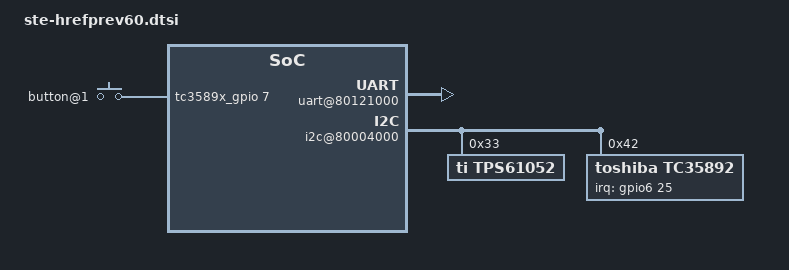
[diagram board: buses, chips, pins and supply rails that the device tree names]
// SPDX-License-Identifier: GPL-2.0-or-later
/*
 * Copyright 2012 ST-Ericsson AB
 *
 * Device Tree for the HREF+ prior to the v60 variant.
 */

#include "ste-dbx5x0.dtsi"
#include "ste-href-ab8500.dtsi"
#include "ste-href.dtsi"

/ {
	gpio_keys {
		button@1 {
			gpios = <&tc3589x_gpio 7 GPIO_ACTIVE_HIGH>;
		};
	};

	soc {
		/* Enable UART1 on this board */
		uart@80121000 {
			status = "okay";
		};

		i2c@80004000 {
			tps61052@33 {
				compatible = "ti,tps61052";
				reg = <0x33>;
			};

			tc35892@42 {
				compatible = "toshiba,tc35892";
				reg = <0x42>;
				interrupt-parent = <&gpio6>;
				interrupts = <25 IRQ_TYPE_EDGE_RISING>;
				pinctrl-names = "default";
				pinctrl-0 = <&tc35892_hrefprev60_mode>;

				interrupt-controller;
				#interrupt-cells = <1>;

				tc3589x_gpio: tc3589x_gpio {
					compatible = "tc3589x-gpio";
					interrupts = <0>;

					interrupt-controller;
					#interrupt-cells = <2>;
					gpio-controller;
					#gpio-cells = <2>;
				};
			};
		};

		spi@80002000 {
			/*
			 * On the first generation boards, this SSP/SPI port was connected
			 * to the AB8500.
			 */
			pinctrl-names = "default";
			pinctrl-0 = <&ssp0_hrefprev60_mode>;
		};

		// External Micro SD slot
		sdi0_per1@80126000 {
			cd-gpios  = <&tc3589x_gpio 3 GPIO_ACTIVE_HIGH>;
		};

		vmmci: regulator-gpio {
			gpios = <&tc3589x_gpio 18 GPIO_ACTIVE_HIGH>;
			enable-gpio = <&tc3589x_gpio 17 GPIO_ACTIVE_HIGH>;
			enable-active-high;
		};

		pinctrl {
			/* Set this up using hogs */
			pinctrl-names = "default";
			pinctrl-0 = <&ipgpio_hrefprev60_mode>;

			ssp0 {
				ssp0_hrefprev60_mode: ssp0_hrefprev60_default {
					hrefprev60_mux {
						function = "ssp0";
						groups = "ssp0_a_1";
					};
					hrefprev60_cfg1 {
						pins = "GPIO145_C13"; /* RXD */
						ste,config = <&in_pd>;
					};

				};
			};
			sdi0 {
				/* This additional pin needed on early MOP500 and HREFs previous to v60 */
				sdi0_default_mode: sdi0_default {
					hrefprev60_mux {
						function = "mc0";
						groups = "mc0dat31dir_a_1";
					};
					hrefprev60_cfg1 {
						pins = "GPIO21_AB3"; /* DAT31DIR */
						ste,config = <&out_hi>;
					};

				};
			};
			tc35892 {
				tc35892_hrefprev60_mode: tc35892_hrefprev60 {
					hrefprev60_cfg {
						pins = "GPIO217_AH12";
						ste,config = <&gpio_in_pu>;
					};
				};
			};
			ipgpio {
				 ipgpio_hrefprev60_mode: ipgpio_hrefprev60 {
					hrefprev60_mux {
						function = "ipgpio";
						groups = "ipgpio0_c_1", "ipgpio1_c_1";
					};
					hrefprev60_cfg1 {
						pins = "GPIO6_AF6", "GPIO7_AG5";
						ste,config = <&in_pu>;
					};
				 };
			};
		};
	};
};
